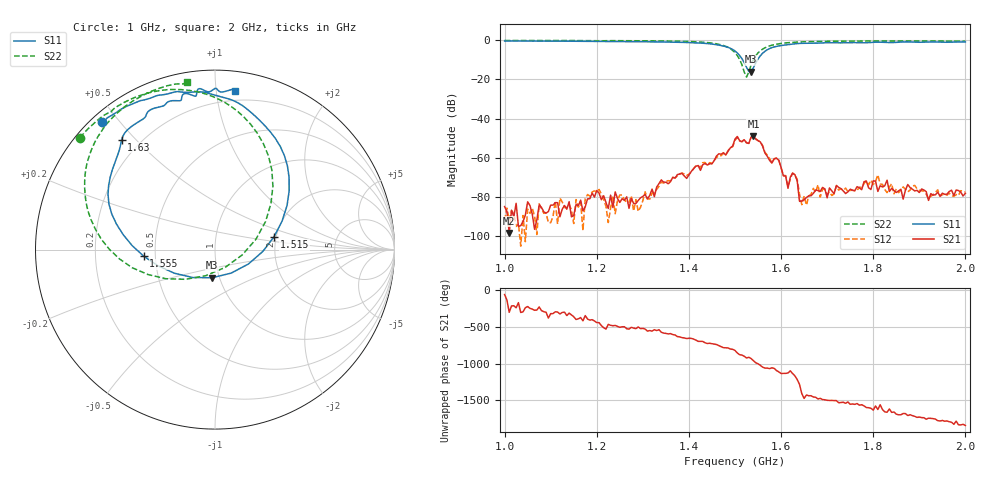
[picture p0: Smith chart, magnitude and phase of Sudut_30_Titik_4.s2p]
# Hz S RI R 50
! CMT, C1220, 16058040, 17.2.0/1
! Date: 14/08/2018 12:28:48
! Data: Format (Calibration Info)
! Freq  S11: Re/Im (F2)  S21: Re/Im (F2)  S12: Re/Im (F2)  S22: Re/Im (F2)
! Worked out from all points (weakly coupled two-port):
!   201 points, 1 GHz to 2 GHz, reference 50 ohm
!   highest |S21| = -48.99 dB at 1.54 GHz (marker M1); lowest = -98.2 dB at 1.01 GHz (marker M2)
!   lowest |S11| = -16.0 dB at 1.535 GHz (marker M3), VSWR 1.37, Z = 46.1 - j14.8 ohm
!   |S11| at or under -10 dB: 1.516 GHz to 1.549 GHz (32.72 MHz wide, 2.13 % of centre)
!   |S22| runs from -18.9 to -0.2 dB; largest |S21 - S12| = 0.00029
!   S11 on the Smith chart (normalised r, x): 1 GHz: 0.03, +0.45; 1.515 GHz: 1.95, +0.31; 1.555 GHz: 0.43, -0.04; 1.63 GHz: 0.13, +0.46; 2 GHz: 0.13, +1.13
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1e9  -0.6272 0.7088  3.04e-05 -4.89e-05  -2.43e-05 -7.68e-06  -0.7528 0.6244
1.01e9  -0.6144 0.7183  6.17e-06 1.06e-05  -1.23e-05 2.3e-05  -0.7456 0.6322
1.17e9  -0.4515 0.8153  2.43e-05 -3.74e-05  1.35e-05 4.41e-06  -0.6165 0.7496
1.325e9  -0.2014 0.8795  -0.000104 -4.14e-06  -0.00012 4.39e-05  -0.4201 0.8576
1.335e9  -0.1862 0.8775  -0.000222 -7.43e-06  -0.000171 7.57e-05  -0.4009 0.8639
1.45e9  0.196 0.7684  0.000699 -0.000101  0.000703 -0.000186  0.0209 0.8376
1.5e9  0.4133 0.3282  -0.000515 -0.00297  -0.000479 -0.00277  0.3227 0.3533
1.515e9  0.3288 0.0713  -0.00248 -0.000721  -0.00247 -0.000749  0.2282 0.0578
1.525e9  0.1861 -0.0803  -0.00223 0.000947  -0.00222 0.000922  0.0565 -0.0992
1.535e9  -0.0162 -0.1568  -0.00289 0.00176  -0.00291 0.00171  -0.1646 -0.1656
1.54e9  -0.1241 -0.1556  -0.00174 0.0031  -0.00175 0.00311  -0.2743 -0.1622
1.555e9  -0.3971 -0.0367  0.00142 0.00211  0.00136 0.00217  -0.5324 -0.0519
1.595e9  -0.5839 0.4035  0.000738 -0.000469  0.000725 -0.000489  -0.7262 0.3459
1.615e9  -0.5355 0.546  0.000114 -0.000125  0.000119 -0.000144  -0.7146 0.4739
1.63e9  -0.52 0.6132  2.03e-05 -0.000373  -2.53e-06 -0.000365  -0.6929 0.5443
1.64e9  -0.5017 0.6514  -7.23e-05 3.01e-05  -7.43e-05 9.42e-05  -0.6765 0.5837
1.67e9  -0.4005 0.7278  0.000121 -3.22e-05  0.000142 -8.93e-05  -0.6243 0.6724
1.76e9  -0.235 0.8298  -6.43e-05 -0.000132  -4.88e-05 -0.000136  -0.4821 0.8109
1.81e9  -0.1691 0.8696  -0.00014 1.6e-05  -0.000285 -0.00024  -0.411 0.8553
1.83e9  -0.1222 0.858  -0.000198 0.000184  -0.00012 5.17e-05  -0.3839 0.8685
1.835e9  -0.1128 0.8548  -0.00014 -2.21e-06  -0.000125 0.000128  -0.3773 0.8719
2e9  0.1129 0.8842  9.13e-05 -8.66e-05  8.95e-05 -0.000101  -0.1539 0.9319
